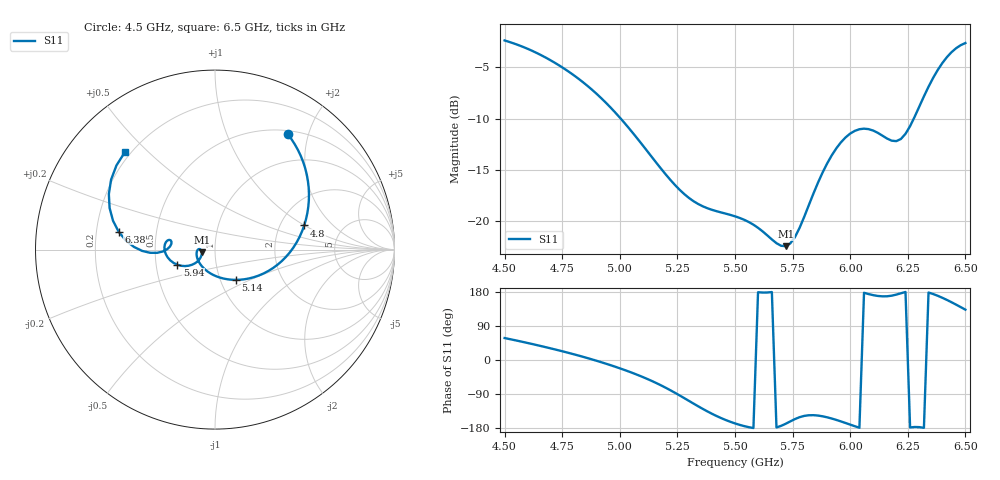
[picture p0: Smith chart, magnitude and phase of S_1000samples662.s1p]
! TOUCHSTONE file generated by CST MICROWAVE STUDIO
! Date and time: Fri Oct 28 22:56:29 2022
! Project name: L.cst
! Parameters = {Di=1.27; Epsilon_r=1.56; InnerDiameter=1.27; Length=2; Lf=10; Lg=60; OuterConductorThickness=0.2921; OuterDiameter=3.6; Wf=3; Wp=41.2; de=1.5; df=6.8; g=0.8; gx=1.46171; gy=1.84562; h=2.34; hf=1.524; px=11.984; py=8.47172; w=9.7; wx=10.5223; wy=6.6261}
! Header version: 2018
! Port assignment regex: !\s*Touchstone port\s*([0-9]+)\s*=\s*(CST MWS port|CST DS port)\s*([0-9]+|Zmin|Zmax)\s*\(\"(.*)\"\)(\s*mode\s*([0-9]+))?.*
! Touchstone port assignment:
! Touchstone port 1 = CST MWS port 1 ("")
# GHz S DB R 50
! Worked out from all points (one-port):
!   101 points, 4.5 GHz to 6.5 GHz, reference 50 ohm
!   lowest |S11| = -22.5 dB at 5.72 GHz (marker M1), VSWR 1.16, Z = 43.1 - j1.33 ohm
!   |S11| at or under -10 dB: 5.004 GHz to 6.276 GHz (1.272 GHz wide, 22.6 % of centre)
!   S11 on the Smith chart (normalised r, x): 4.5 GHz: 0.55, +1.67; 4.8 GHz: 2.71, +0.99; 5.14 GHz: 1.18, -0.42; 5.94 GHz: 0.64, -0.11; 6.38 GHz: 0.30, +0.08; 6.5 GHz: 0.18, +0.43
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4.5  -2.37 57.9
4.64  -3.60 39.3
4.76  -5.14 21.5
4.8  -5.76 15.2
4.9  -7.60 -2.2
5  -9.90 -21.9
5.14  -13.79 -55.6
5.26  -16.97 -93.6
5.38  -18.76 -135.6
5.5  -19.55 -167.3
5.62  -21.03 178.0
5.68  -22.18 -178.0
5.72  -22.47 -168.3
5.76  -21.59 -155.9
5.88  -15.29 -148.5
5.94  -12.90 -158.2
6  -11.47 -170.5
6.06  -10.99 177.4
6.14  -11.67 168.0
6.2  -12.21 172.5
6.22  -12.00 176.0
6.26  -10.74 -178.0
6.32  -7.83 -179.0
6.38  -5.25 169.5
6.42  -3.99 158.5
6.44  -3.51 152.4
6.46  -3.12 146.0
6.5  -2.62 132.8
